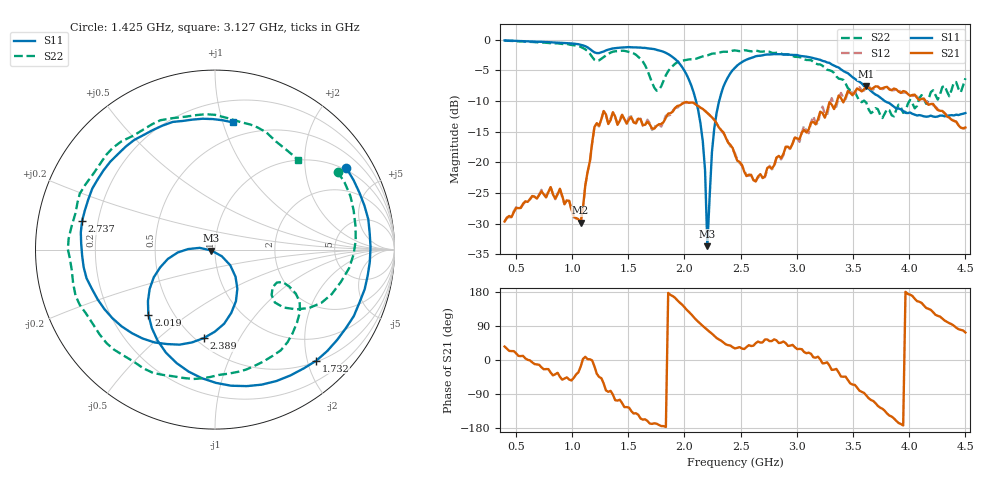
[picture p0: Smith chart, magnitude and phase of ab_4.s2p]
! Anritsu VNA Master:  Model: MS2036C/2
! SN:  2120025
! /bd0/ab_4.s2p
! Existing Calibration Information:
! TYPE:  Current Settings,  Active Cal Settings
! TIME:  03/02/2026 02:57:16 AM,  03/02/2026 02:47:23 AM
! INTERNAL TEMP:  53.3 C,  51.8 C
! # POINTS:  201,  201
! START FREQ:  400.000 MHz,  400.000 MHz
! STOP FREQ:  4.500 GHz,  4.500 GHz
! SOURCE POWER:  High,  High
! IFBW:  10 kHz,  10 kHz
! AVG FACTOR:  1 ,  1
! REF PLANE 1:  0 mm,  0 mm
! REF PLANE 2:  0 mm,  0 mm
! CAL TYPE:  Full 2 Port,  Full 2 Port
! CAL METHOD:  SOLT,  SOLT
! CAL LINE TYPE:  Coax,  Coax
! DUT PORT 1:  N-Conn(M),  N-Conn(M)
! DUT PORT 2:  N-Conn(M),  N-Conn(M)
! CAL STATUS:  OK: Accuracy High,  --
# GHZ S DB R 50.0
! FREQ.GHZ  S11DB  S11A  S21DB  S21A  S12DB  S12A  S22DB  S22A
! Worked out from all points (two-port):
!   201 points, 400 MHz to 4.5 GHz, reference 50 ohm
!   highest |S21| = -7.60 dB at 3.619 GHz (marker M1); lowest = -29.8 dB at 1.077 GHz (marker M2)
!   |S21| within 3 dB of the highest: 1.968 GHz to 2.104 GHz (135.9 MHz wide, 6.68 % of centre); 3.346 GHz to 4.171 GHz (824.7 MHz wide, 21.9 % of centre)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
!   lowest |S11| = -33.7 dB at 2.204 GHz (marker M3), VSWR 1.04, Z = 48 - j0.511 ohm
!   |S11| at or under -10 dB: 2.103 GHz to 2.309 GHz (205.8 MHz wide, 9.33 % of centre); 3.781 GHz to end of sweep
!   |S22| runs from -12.8 to -0.1 dB; largest |S21 - S12| = 0.043
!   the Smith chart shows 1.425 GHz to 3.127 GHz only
!   S11 on the Smith chart (normalised r, x): 1.425 GHz: 0.92, +3.26; 1.732 GHz: 0.52, -2.16; 2.019 GHz: 0.36, -0.36; 2.389 GHz: 0.55, -0.72; 2.737 GHz: 0.14, +0.10; 3.127 GHz: 0.37, +1.08
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0.4  -0.12 -88.7  -29.65 35.6  -29.61 36.3  -0.14 -89.5
0.7485  -0.38 -169.8  -25.23 -24.5  -25.15 -26.4  -0.47 -171.7
1.0765  -0.82 108.3  -29.85 -17.9  -29.72 -15.8  -1.18 104.7
1.097  -0.93 102.7  -27.43 2.5  -27.57 4.3  -1.36 98.6
1.1995  -2.06 79.2  -14.23 -17.0  -14.19 -16.7  -3.28 76.4
1.425  -1.30 31.9  -13.23 -104.9  -12.93 -105.1  -1.84 32.5
1.7325  -1.54 -47.6  -14.49 -167.0  -14.45 -165.8  -7.85 -38.9
1.7735  -1.75 -59.1  -13.80 -171.4  -13.85 -175.8  -8.18 -28.1
2.0195  -5.71 -135.7  -10.16 132.7  -10.31 133.0  -3.29 -71.6
2.163  -16.49 178.8  -11.30 90.0  -11.34 89.7  -2.72 -99.4
2.204  -33.67 -165.1  -11.93 79.2  -11.97 79.0  -2.57 -108.7
2.2655  -14.46 -52.9  -13.05 63.9  -13.10 63.8  -2.24 -121.0
2.3885  -6.08 -97.1  -16.77 39.2  -16.71 38.7  -1.97 -149.1
2.45  -4.58 -116.9  -18.79 30.6  -18.53 31.5  -1.74 -161.7
2.737  -2.41 167.9  -20.91 54.2  -21.17 54.7  -1.90 135.3
3.1265  -2.91 81.9  -13.53 16.2  -13.48 22.0  -3.34 47.0
3.147  -3.01 77.6  -13.40 7.2  -12.46 8.3  -3.61 41.7
3.3725  -4.55 26.8  -9.11 -32.8  -9.38 -28.6  -6.35 -19.5
3.6185  -7.75 -26.0  -7.60 -93.5  -7.72 -92.2  -10.27 -73.6
3.8235  -10.35 -69.1  -8.12 -146.5  -8.03 -146.8  -11.50 -111.4
4.213  -12.54 -174.0  -10.46 126.1  -10.67 126.3  -8.24 155.5
4.5  -11.96 114.4  -14.32 72.7  -14.51 73.7  -6.30 91.0
